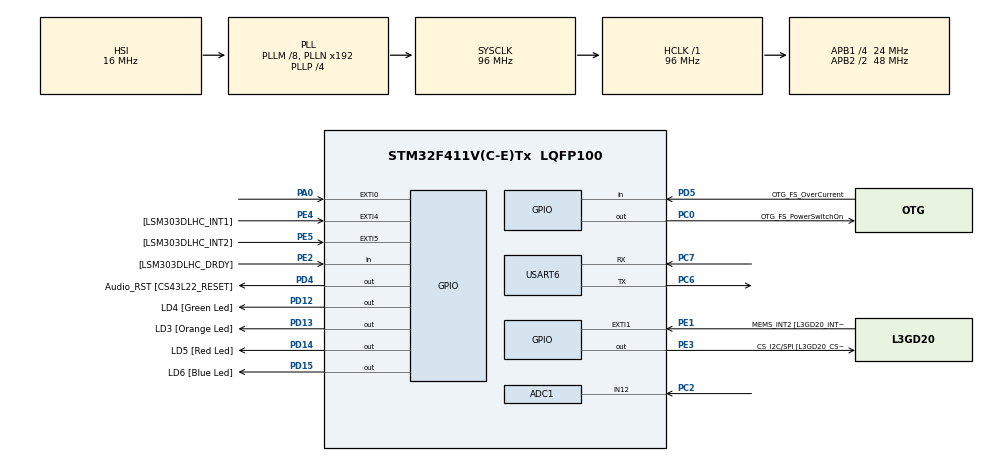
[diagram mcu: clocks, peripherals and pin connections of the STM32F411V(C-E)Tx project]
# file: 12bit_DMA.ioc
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ADC1.Channel-10\#ChannelRegularConversion=ADC_CHANNEL_12
ADC1.ContinuousConvMode=ENABLE
ADC1.DMAContinuousRequests=ENABLE
ADC1.NbrOfConversionFlag=1
ADC1.Rank-10\#ChannelRegularConversion=1
ADC1.Resolution=ADC_RESOLUTION8b
ADC1.SamplingTime-10\#ChannelRegularConversion=ADC_SAMPLETIME_144CYCLES
ADC1.master=1
Dma.ADC1.0.Channel=DMA_CHANNEL_0
Dma.ADC1.0.Direction=DMA_PERIPH_TO_MEMORY
Dma.ADC1.0.FIFOMode=DMA_FIFOMODE_DISABLE
Dma.ADC1.0.Instance=DMA2_Stream4
Dma.ADC1.0.MemDataAlignment=DMA_MDATAALIGN_BYTE
Dma.ADC1.0.MemInc=DMA_MINC_ENABLE
Dma.ADC1.0.Mode=DMA_CIRCULAR
Dma.ADC1.0.PeriphDataAlignment=DMA_PDATAALIGN_BYTE
Dma.ADC1.0.PeriphInc=DMA_PINC_DISABLE
Dma.ADC1.0.Priority=DMA_PRIORITY_LOW
Dma.Request0=ADC1
Mcu.Family=STM32F4
Mcu.Name=STM32F411V(C-E)Tx
Mcu.Package=LQFP100
NVIC.DMA2_Stream4_IRQn=true\:0\:0\:false
NVIC.PriorityGroup=NVIC_PRIORITYGROUP_0
PA0-WKUP.GPIO_ModeDefaultEXTI=GPIO_MODE_EVT_RISING
PA0-WKUP.Signal=GPXTI0
PA10.GPIO_Label=OTG_FS_ID
PA10.Signal=USB_OTG_FS_ID
PA11.GPIO_Label=OTG_FS_DM
PA11.Signal=USB_OTG_FS_DM
PA12.GPIO_Label=OTG_FS_DP
PA12.Signal=USB_OTG_FS_DP
PA13.GPIO_Label=SWDIO
PA13.Signal=SYS_JTMS-SWDIO
PA14.GPIO_Label=SWCLK
PA14.Signal=SYS_JTCK-SWCLK
PA4.GPIO_Label=I2S3_WS [CS43L22_LRCK]
PA4.GPIO_Mode=GPIO_MODE_AF_PP
PA4.GPIO_PuPd=GPIO_NOPULL
PA4.GPIO_Speed=GPIO_SPEED_LOW
PA4.Signal=I2S3_WS
PA5.GPIO_Label=SPI1_SCK [L3GD20_SC/SPC]
PA5.Signal=SPI1_SCK
PA6.GPIO_Label=SPI1_MISO [L3GD20_AS0/SDO]
PA6.Signal=SPI1_MISO
PA7.GPIO_Label=SPI1_MOSI [L3GD20_SDA/SDI/SDO]
PA7.Signal=SPI1_MOSI
PA9.GPIO_Label=VBUS_FS
PA9.Signal=USB_OTG_FS_VBUS
PB10.GPIO_Label=CLK_IN [MP45DT02_CLK]
PB10.Signal=I2S2_CK
PB12.Signal=I2S2_WS
PB3.GPIO_Label=SWO
PB3.Signal=SYS_JTDO-SWO
PB6.GPIO_Label=Audio_SCL [CS43L22_SCL]
PB6.GPIO_Mode=GPIO_MODE_AF_OD
PB6.GPIO_PuPd=GPIO_NOPULL
PB6.GPIO_Speed=GPIO_SPEED_LOW
PB6.Signal=I2C1_SCL
PB9.GPIO_Label=Audio_SDA [CS43L22_SDA]
PB9.GPIO_Mode=GPIO_MODE_AF_OD
PB9.GPIO_PuPd=GPIO_NOPULL
PB9.GPIO_Speed=GPIO_SPEED_LOW
PB9.Signal=I2C1_SDA
PC0.GPIO_Label=OTG_FS_PowerSwitchOn
PC0.Signal=GPIO_Output
PC10.GPIO_Label=I2S3_SCK [CS43L22_SCLK]
PC10.GPIO_Mode=GPIO_MODE_AF_PP
PC10.GPIO_PuPd=GPIO_NOPULL
PC10.GPIO_Speed=GPIO_SPEED_LOW
PC10.Signal=I2S3_CK
PC12.GPIO_Label=I2S3_SD [CS43L22_SDIN]
PC12.GPIO_Mode=GPIO_MODE_AF_PP
PC12.GPIO_PuPd=GPIO_NOPULL
PC12.GPIO_Speed=GPIO_SPEED_LOW
PC12.Signal=I2S3_SD
PC14-OSC32_IN.GPIO_Label=PC14-OSC32_IN
PC14-OSC32_IN.Signal=RCC_OSC32_IN
PC15-OSC32_OUT.GPIO_Label=PC15-OSC32_OUT
PC15-OSC32_OUT.Signal=RCC_OSC32_OUT
PC2.Signal=ADCx_IN12
PC3.GPIO_Label=PDM_OUT [MP45DT02_DOUT]
PC3.Signal=I2S2_SD
PC6.Mode=Asynchronous
PC6.Signal=USART6_TX
PC7.Mode=Asynchronous
PC7.Signal=USART6_RX
PD12.GPIO_Label=LD4 [Green Led]
PD12.GPIO_PuPd=GPIO_NOPULL
PD12.GPIO_Speed=GPIO_SPEED_LOW
PD12.Signal=GPIO_Output
PD13.GPIO_Label=LD3 [Orange Led]
PD13.GPIO_PuPd=GPIO_NOPULL
PD13.GPIO_Speed=GPIO_SPEED_LOW
PD13.Signal=GPIO_Output
PD14.GPIO_Label=LD5 [Red Led]
PD14.GPIO_PuPd=GPIO_NOPULL
PD14.GPIO_Speed=GPIO_SPEED_LOW
PD14.Signal=GPIO_Output
PD15.GPIO_Label=LD6 [Blue Led]
PD15.GPIO_PuPd=GPIO_NOPULL
PD15.GPIO_Speed=GPIO_SPEED_LOW
PD15.Signal=GPIO_Output
PD4.GPIO_Label=Audio_RST [CS43L22_RESET]
PD4.Signal=GPIO_Output
PD5.GPIO_Label=OTG_FS_OverCurrent
PD5.Signal=GPIO_Input
PE1.GPIO_Label=MEMS_INT2 [L3GD20_INT2]
PE1.GPIO_ModeDefaultEXTI=GPIO_MODE_EVT_RISING
PE1.Signal=GPXTI1
PE2.GPIO_Label=[LSM303DLHC_DRDY]
PE2.Signal=GPIO_Input
PE3.GPIO_Label=CS_I2C/SPI [L3GD20_CS_I2C/SPI]
PE3.Signal=GPIO_Output
PE4.GPIO_Label=[LSM303DLHC_INT1]
PE4.GPIO_ModeDefaultEXTI=GPIO_MODE_EVT_RISING
PE4.Signal=GPXTI4
PE5.GPIO_Label=[LSM303DLHC_INT2]
PE5.GPIO_ModeDefaultEXTI=GPIO_MODE_EVT_RISING
PE5.Signal=GPXTI5
PH0\ -\ OSC_IN.GPIO_Label=PH0-OSC_IN
PH0\ -\ OSC_IN.Signal=RCC_OSC_IN
PH1\ -\ OSC_OUT.GPIO_Label=PH1-OSC_OUT
PH1\ -\ OSC_OUT.Signal=RCC_OSC_OUT
ProjectManager.HeapSize=0x400
ProjectManager.StackSize=0x200
ProjectManager.TargetToolchain=TrueSTUDIO
RCC.48MHZClocksFreq_Value=48000000
RCC.AHBFreq_Value=96000000
RCC.APB1CLKDivider=RCC_HCLK_DIV4
RCC.APB1Freq_Value=24000000
RCC.APB1TimFreq_Value=48000000
RCC.APB2CLKDivider=RCC_HCLK_DIV2
RCC.APB2Freq_Value=48000000
RCC.APB2TimFreq_Value=96000000
RCC.CortexFreq_Value=96000000
RCC.HCLKFreq_Value=96000000
RCC.HSE_VALUE=8000000
RCC.HSI_VALUE=16000000
RCC.LSE_VALUE=32768
RCC.PLLI2SM=5
RCC.PLLI2SN=200
RCC.PLLM=8
RCC.PLLP=RCC_PLLP_DIV4
RCC.PLLQ=8
RCC.SYSCLKFreq_VALUE=96000000
RCC.SYSCLKSource=RCC_SYSCLKSOURCE_PLLCLK
RCC.VCOOutputFreq_Value=384000000
SH.ADCx_IN12.0=ADC1_IN12,IN12
board=STM32F411E-DISCO

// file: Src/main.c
/**
  ******************************************************************************
  * File Name          : main.c
  * Description        : Main program body
  ******************************************************************************
  *
  * COPYRIGHT(c) 2016 STMicroelectronics
  *
  * Redistribution and use in source and binary forms, with or without modification,
  * are permitted provided that the following conditions are met:
  *   1. Redistributions of source code must retain the above copyright notice,
  *      this list of conditions and the following disclaimer.
  *   2. Redistributions in binary form must reproduce the above copyright notice,
  *      this list of conditions and the following disclaimer in the documentation
  *      and/or other materials provided with the distribution.
  *   3. Neither the name of STMicroelectronics nor the names of its contributors
  *      may be used to endorse or promote products derived from this software
  *      without specific prior written permission.
  *
  * THIS SOFTWARE IS PROVIDED BY THE COPYRIGHT HOLDERS AND CONTRIBUTORS "AS IS"
  * AND ANY EXPRESS OR IMPLIED WARRANTIES, INCLUDING, BUT NOT LIMITED TO, THE
  * IMPLIED WARRANTIES OF MERCHANTABILITY AND FITNESS FOR A PARTICULAR PURPOSE ARE
  * DISCLAIMED. IN NO EVENT SHALL THE COPYRIGHT HOLDER OR CONTRIBUTORS BE LIABLE
  * FOR ANY DIRECT, INDIRECT, INCIDENTAL, SPECIAL, EXEMPLARY, OR CONSEQUENTIAL
  * DAMAGES (INCLUDING, BUT NOT LIMITED TO, PROCUREMENT OF SUBSTITUTE GOODS OR
  * SERVICES; LOSS OF USE, DATA, OR PROFITS; OR BUSINESS INTERRUPTION) HOWEVER
  * CAUSED AND ON ANY THEORY OF LIABILITY, WHETHER IN CONTRACT, STRICT LIABILITY,
  * OR TORT (INCLUDING NEGLIGENCE OR OTHERWISE) ARISING IN ANY WAY OUT OF THE USE
  * OF THIS SOFTWARE, EVEN IF ADVISED OF THE POSSIBILITY OF SUCH DAMAGE.
  *
  ******************************************************************************
  */
#include "stm32f4xx_hal.h"

/* USER CODE BEGIN Includes */
#include <string.h>
#include <stdio.h>
/* USER CODE END Includes */

ADC_HandleTypeDef hadc1;
DMA_HandleTypeDef hdma_adc1;

UART_HandleTypeDef huart6;

/* USER CODE BEGIN PV */
/* Private variables ---------------------------------------------------------*/
#define ADC_BUFFER_LENGTH 30
uint32_t ADCBuffer[ADC_BUFFER_LENGTH]={0};
uint32_t EXTRAADCBuffer[ADC_BUFFER_LENGTH]={0};
/* USER CODE END PV */

void SystemClock_Config(void);
static void MX_GPIO_Init(void);
static void MX_DMA_Init(void);
static void MX_ADC1_Init(void);
static void MX_USART6_UART_Init(void);

/* USER CODE BEGIN PFP */
/* Private function prototypes -----------------------------------------------*/

/* USER CODE END PFP */

/* USER CODE BEGIN 0 */
void Uart_transmit(uint32_t dma_buffer[])
{
	int i = 0;
	int count = 0;
	char buffer[50] = {"Empty.."};
	uint32_t twaalfbit = 255;
	//int acht = 8;
	for(i=0; i<ADC_BUFFER_LENGTH;i++)
	{
		  if(count != 9)
		  {

			  dma_buffer[i] &= twaalfbit;
			  //dma_buffer[i] = dma_buffer[i] >> acht;
			  sprintf(buffer,"slot: %05d   ",(int) dma_buffer[i]);
			  HAL_UART_Transmit(&huart6,(uint8_t*) buffer,strlen(buffer),HAL_MAX_DELAY);
			  count++;
		  }
		  else
		  {
				sprintf(buffer,"\r\n");
				HAL_UART_Transmit(&huart6,(uint8_t*) buffer,strlen(buffer),HAL_MAX_DELAY);
				count = 0;
		  }
	}
	HAL_UART_Transmit(&huart6,"\r\n",strlen("\r\n"),HAL_MAX_DELAY);
}

/* USER CODE END 0 */

int main(void)
{

  /* USER CODE BEGIN 1 */
int teller = 0;
  /* USER CODE END 1 */

  /* MCU Configuration----------------------------------------------------------*/

  /* Reset of all peripherals, Initializes the Flash interface and the Systick. */
  HAL_Init();

  /* Configure the system clock */
  SystemClock_Config();

  /* Initialize all configured peripherals */
  MX_GPIO_Init();
  MX_DMA_Init();
  MX_ADC1_Init();
  MX_USART6_UART_Init();

  /* Infinite loop */
  while (1)
  {

  /* USER CODE BEGIN 3 */
	  HAL_ADC_Start(&hadc1);
	  HAL_ADC_Start_DMA(&hadc1, &ADCBuffer[0], ADC_BUFFER_LENGTH*4);
	  EXTRAADCBuffer[teller] = HAL_ADC_GetValue(&hadc1);
	  teller++;
	  if(teller > ADC_BUFFER_LENGTH)teller = 0;
	  if(HAL_GPIO_ReadPin(GPIOA,GPIO_PIN_0))
	  {
	   //uint32_t count = __HAL_TIM_GetCounter(&htim2);
	   //HAL_TIM_Base_Start(&htim2);
	   HAL_Delay(500);
	   Uart_transmit(ADCBuffer);
	   HAL_UART_Transmit(&huart6,"Zonder DMA\r\n",strlen("Zonder DMA\r\n"),HAL_MAX_DELAY);
	   Uart_transmit(EXTRAADCBuffer);
	   //ADCBuffer[ADC_BUFFER_LENGTH -1]=0;
	  }
  }
  /* USER CODE END 3 */

}

/** System Clock Configuration
*/
void SystemClock_Config(void)
{

  RCC_OscInitTypeDef RCC_OscInitStruct;
  RCC_ClkInitTypeDef RCC_ClkInitStruct;

  __PWR_CLK_ENABLE();

  __HAL_PWR_VOLTAGESCALING_CONFIG(PWR_REGULATOR_VOLTAGE_SCALE1);

  RCC_OscInitStruct.OscillatorType = RCC_OSCILLATORTYPE_HSI;
  RCC_OscInitStruct.HSIState = RCC_HSI_ON;
  RCC_OscInitStruct.HSICalibrationValue = 16;
  RCC_OscInitStruct.PLL.PLLState = RCC_PLL_ON;
  RCC_OscInitStruct.PLL.PLLSource = RCC_PLLSOURCE_HSI;
  RCC_OscInitStruct.PLL.PLLM = 8;
  RCC_OscInitStruct.PLL.PLLN = 192;
  RCC_OscInitStruct.PLL.PLLP = RCC_PLLP_DIV4;
  RCC_OscInitStruct.PLL.PLLQ = 8;
  HAL_RCC_OscConfig(&RCC_OscInitStruct);

  RCC_ClkInitStruct.ClockType = RCC_CLOCKTYPE_HCLK|RCC_CLOCKTYPE_SYSCLK
                              |RCC_CLOCKTYPE_PCLK1|RCC_CLOCKTYPE_PCLK2;
  RCC_ClkInitStruct.SYSCLKSource = RCC_SYSCLKSOURCE_PLLCLK;
  RCC_ClkInitStruct.AHBCLKDivider = RCC_SYSCLK_DIV1;
  RCC_ClkInitStruct.APB1CLKDivider = RCC_HCLK_DIV4;
  RCC_ClkInitStruct.APB2CLKDivider = RCC_HCLK_DIV2;
  HAL_RCC_ClockConfig(&RCC_ClkInitStruct, FLASH_LATENCY_3);

  HAL_SYSTICK_Config(HAL_RCC_GetHCLKFreq()/1000);

  HAL_SYSTICK_CLKSourceConfig(SYSTICK_CLKSOURCE_HCLK);

  /* SysTick_IRQn interrupt configuration */
  HAL_NVIC_SetPriority(SysTick_IRQn, 0, 0);
}

/* ADC1 init function */
void MX_ADC1_Init(void)
{

  ADC_ChannelConfTypeDef sConfig;

    /**Configure the global features of the ADC (Clock, Resolution, Data Alignment and number of conversion)
    */
  hadc1.Instance = ADC1;
  hadc1.Init.ClockPrescaler = ADC_CLOCKPRESCALER_PCLK_DIV2;
  hadc1.Init.Resolution = ADC_RESOLUTION8b;
  hadc1.Init.ScanConvMode = DISABLE;
  hadc1.Init.ContinuousConvMode = ENABLE;
  hadc1.Init.DiscontinuousConvMode = DISABLE;
  hadc1.Init.ExternalTrigConvEdge = ADC_EXTERNALTRIGCONVEDGE_NONE;
  hadc1.Init.DataAlign = ADC_DATAALIGN_RIGHT;
  hadc1.Init.NbrOfConversion = 1;
  hadc1.Init.DMAContinuousRequests = ENABLE;
  hadc1.Init.EOCSelection = EOC_SINGLE_CONV;
  HAL_ADC_Init(&hadc1);

    /**Configure for the selected ADC regular channel its corresponding rank in the sequencer and its sample time.
    */
  sConfig.Channel = ADC_CHANNEL_12;
  sConfig.Rank = 1;
  sConfig.SamplingTime = ADC_SAMPLETIME_144CYCLES;
  HAL_ADC_ConfigChannel(&hadc1, &sConfig);

}

/* USART6 init function */
void MX_USART6_UART_Init(void)
{

  huart6.Instance = USART6;
  huart6.Init.BaudRate = 115200;
  huart6.Init.WordLength = UART_WORDLENGTH_8B;
  huart6.Init.StopBits = UART_STOPBITS_1;
  huart6.Init.Parity = UART_PARITY_NONE;
  huart6.Init.Mode = UART_MODE_TX_RX;
  huart6.Init.HwFlowCtl = UART_HWCONTROL_NONE;
  huart6.Init.OverSampling = UART_OVERSAMPLING_16;
  HAL_UART_Init(&huart6);

}

void MX_DMA_Init(void)
{
  /* DMA controller clock enable */
  __DMA2_CLK_ENABLE();

  /* DMA interrupt init */
  HAL_NVIC_SetPriority(DMA2_Stream4_IRQn, 0, 0);
  HAL_NVIC_EnableIRQ(DMA2_Stream4_IRQn);

}

/** Configure pins as
        * Analog
        * Input
        * Output
        * EVENT_OUT
        * EXTI
     PC3   ------> I2S2_SD
     PA4   ------> I2S3_WS
     PA5   ------> SPI1_SCK
     PA6   ------> SPI1_MISO
     PA7   ------> SPI1_MOSI
     PB10   ------> I2S2_CK
     PB12   ------> I2S2_WS
     PA9   ------> USB_OTG_FS_VBUS
     PA10   ------> USB_OTG_FS_ID
     PA11   ------> USB_OTG_FS_DM
     PA12   ------> USB_OTG_FS_DP
     PC10   ------> I2S3_CK
     PC12   ------> I2S3_SD
     PB6   ------> I2C1_SCL
     PB9   ------> I2C1_SDA
*/
void MX_GPIO_Init(void)
{

  GPIO_InitTypeDef GPIO_InitStruct;

  /* GPIO Ports Clock Enable */
  __GPIOE_CLK_ENABLE();
  __GPIOC_CLK_ENABLE();
  __GPIOH_CLK_ENABLE();
  __GPIOA_CLK_ENABLE();
  __GPIOB_CLK_ENABLE();
  __GPIOD_CLK_ENABLE();

  /*Configure GPIO pin : PE2 */
  GPIO_InitStruct.Pin = GPIO_PIN_2;
  GPIO_InitStruct.Mode = GPIO_MODE_INPUT;
  GPIO_InitStruct.Pull = GPIO_NOPULL;
  HAL_GPIO_Init(GPIOE, &GPIO_InitStruct);

  /*Configure GPIO pin : CS_I2C_SPI_Pin */
  GPIO_InitStruct.Pin = CS_I2C_SPI_Pin;
  GPIO_InitStruct.Mode = GPIO_MODE_OUTPUT_PP;
  GPIO_InitStruct.Pull = GPIO_NOPULL;
  GPIO_InitStruct.Speed = GPIO_SPEED_LOW;
  HAL_GPIO_Init(CS_I2C_SPI_GPIO_Port, &GPIO_InitStruct);

  /*Configure GPIO pins : PE4 PE5 MEMS_INT2_Pin */
  GPIO_InitStruct.Pin = GPIO_PIN_4|GPIO_PIN_5|MEMS_INT2_Pin;
  GPIO_InitStruct.Mode = GPIO_MODE_EVT_RISING;
  GPIO_InitStruct.Pull = GPIO_NOPULL;
  HAL_GPIO_Init(GPIOE, &GPIO_InitStruct);

  /*Configure GPIO pin : OTG_FS_PowerSwitchOn_Pin */
  GPIO_InitStruct.Pin = OTG_FS_PowerSwitchOn_Pin;
  GPIO_InitStruct.Mode = GPIO_MODE_OUTPUT_PP;
  GPIO_InitStruct.Pull = GPIO_NOPULL;
  GPIO_InitStruct.Speed = GPIO_SPEED_LOW;
  HAL_GPIO_Init(OTG_FS_PowerSwitchOn_GPIO_Port, &GPIO_InitStruct);

  /*Configure GPIO pin : PDM_OUT_Pin */
  GPIO_InitStruct.Pin = PDM_OUT_Pin;
  GPIO_InitStruct.Mode = GPIO_MODE_AF_PP;
  GPIO_InitStruct.Pull = GPIO_NOPULL;
  GPIO_InitStruct.Speed = GPIO_SPEED_LOW;
  GPIO_InitStruct.Alternate = GPIO_AF5_SPI2;
  HAL_GPIO_Init(PDM_OUT_GPIO_Port, &GPIO_InitStruct);

  /*Configure GPIO pin : PA0 */
  GPIO_InitStruct.Pin = GPIO_PIN_0;
  GPIO_InitStruct.Mode = GPIO_MODE_EVT_RISING;
  GPIO_InitStruct.Pull = GPIO_NOPULL;
  HAL_GPIO_Init(GPIOA, &GPIO_InitStruct);

  /*Configure GPIO pin : PA4 */
  GPIO_InitStruct.Pin = GPIO_PIN_4;
  GPIO_InitStruct.Mode = GPIO_MODE_AF_PP;
  GPIO_InitStruct.Pull = GPIO_NOPULL;
  GPIO_InitStruct.Speed = GPIO_SPEED_LOW;
  GPIO_InitStruct.Alternate = GPIO_AF6_SPI3;
  HAL_GPIO_Init(GPIOA, &GPIO_InitStruct);

  /*Configure GPIO pins : PA5 PA6 PA7 */
  GPIO_InitStruct.Pin = GPIO_PIN_5|GPIO_PIN_6|GPIO_PIN_7;
  GPIO_InitStruct.Mode = GPIO_MODE_AF_PP;
  GPIO_InitStruct.Pull = GPIO_NOPULL;
  GPIO_InitStruct.Speed = GPIO_SPEED_HIGH;
  GPIO_InitStruct.Alternate = GPIO_AF5_SPI1;
  HAL_GPIO_Init(GPIOA, &GPIO_InitStruct);

  /*Configure GPIO pins : CLK_IN_Pin PB12 */
  GPIO_InitStruct.Pin = CLK_IN_Pin|GPIO_PIN_12;
  GPIO_InitStruct.Mode = GPIO_MODE_AF_PP;
  GPIO_InitStruct.Pull = GPIO_NOPULL;
  GPIO_InitStruct.Speed = GPIO_SPEED_LOW;
  GPIO_InitStruct.Alternate = GPIO_AF5_SPI2;
  HAL_GPIO_Init(GPIOB, &GPIO_InitStruct);

  /*Configure GPIO pins : LD4_Pin LD3_Pin LD5_Pin LD6_Pin
                           Audio_RST_Pin */
  GPIO_InitStruct.Pin = LD4_Pin|LD3_Pin|LD5_Pin|LD6_Pin
                          |Audio_RST_Pin;
  GPIO_InitStruct.Mode = GPIO_MODE_OUTPUT_PP;
  GPIO_InitStruct.Pull = GPIO_NOPULL;
  GPIO_InitStruct.Speed = GPIO_SPEED_LOW;
  HAL_GPIO_Init(GPIOD, &GPIO_InitStruct);

  /*Configure GPIO pin : VBUS_FS_Pin */
  GPIO_InitStruct.Pin = VBUS_FS_Pin;
  GPIO_InitStruct.Mode = GPIO_MODE_INPUT;
  GPIO_InitStruct.Pull = GPIO_NOPULL;
  HAL_GPIO_Init(VBUS_FS_GPIO_Port, &GPIO_InitStruct);

  /*Configure GPIO pins : OTG_FS_ID_Pin OTG_FS_DM_Pin OTG_FS_DP_Pin */
  GPIO_InitStruct.Pin = OTG_FS_ID_Pin|OTG_FS_DM_Pin|OTG_FS_DP_Pin;
  GPIO_InitStruct.Mode = GPIO_MODE_AF_PP;
  GPIO_InitStruct.Pull = GPIO_NOPULL;
  GPIO_InitStruct.Speed = GPIO_SPEED_HIGH;
  GPIO_InitStruct.Alternate = GPIO_AF10_OTG_FS;
  HAL_GPIO_Init(GPIOA, &GPIO_InitStruct);

  /*Configure GPIO pins : I2S3_SCK_Pin PC12 */
  GPIO_InitStruct.Pin = I2S3_SCK_Pin|GPIO_PIN_12;
  GPIO_InitStruct.Mode = GPIO_MODE_AF_PP;
  GPIO_InitStruct.Pull = GPIO_NOPULL;
  GPIO_InitStruct.Speed = GPIO_SPEED_LOW;
  GPIO_InitStruct.Alternate = GPIO_AF6_SPI3;
  HAL_GPIO_Init(GPIOC, &GPIO_InitStruct);

  /*Configure GPIO pin : OTG_FS_OverCurrent_Pin */
  GPIO_InitStruct.Pin = OTG_FS_OverCurrent_Pin;
  GPIO_InitStruct.Mode = GPIO_MODE_INPUT;
  GPIO_InitStruct.Pull = GPIO_NOPULL;
  HAL_GPIO_Init(OTG_FS_OverCurrent_GPIO_Port, &GPIO_InitStruct);

  /*Configure GPIO pins : Audio_SCL_Pin Audio_SDA_Pin */
  GPIO_InitStruct.Pin = Audio_SCL_Pin|Audio_SDA_Pin;
  GPIO_InitStruct.Mode = GPIO_MODE_AF_OD;
  GPIO_InitStruct.Pull = GPIO_PULLUP;
  GPIO_InitStruct.Speed = GPIO_SPEED_LOW;
  GPIO_InitStruct.Alternate = GPIO_AF4_I2C1;
  HAL_GPIO_Init(GPIOB, &GPIO_InitStruct);

  /*Configure GPIO pin Output Level */
  HAL_GPIO_WritePin(CS_I2C_SPI_GPIO_Port, CS_I2C_SPI_Pin, GPIO_PIN_RESET);

  /*Configure GPIO pin Output Level */
  HAL_GPIO_WritePin(OTG_FS_PowerSwitchOn_GPIO_Port, OTG_FS_PowerSwitchOn_Pin, GPIO_PIN_RESET);

  /*Configure GPIO pin Output Level */
  HAL_GPIO_WritePin(GPIOD, LD4_Pin|LD3_Pin|LD5_Pin|LD6_Pin
                          |Audio_RST_Pin, GPIO_PIN_RESET);

}

/************************ (C) COPYRIGHT STMicroelectronics *****END OF FILE****/
